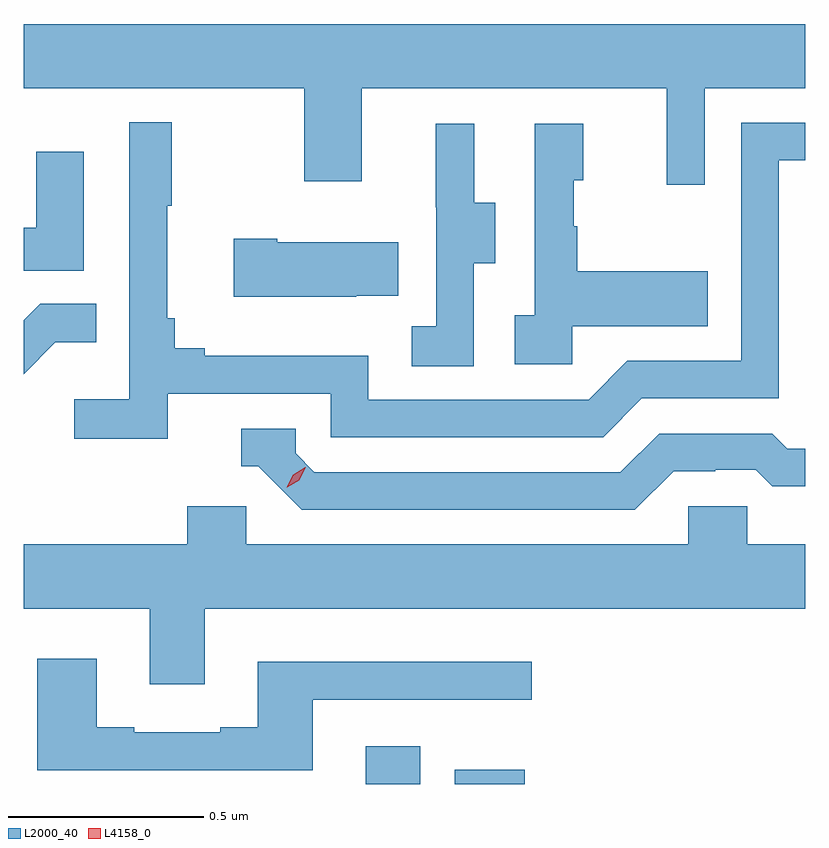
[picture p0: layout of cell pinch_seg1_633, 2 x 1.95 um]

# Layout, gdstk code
import gdstk
lib = gdstk.Library(unit=1e-6, precision=1e-09)
def R(c, l, rs):  # rectangles x0, y0, x1, y1
    for r in rs: c.add(gdstk.rectangle(r[:2], r[2:], *l))
def P(c, l, *ps):  # polygons
    for p in ps: c.add(gdstk.Polygon(p, *l))
L2000_40 = (2000, 40)
L4158_0 = (4158, 0)

pinch_seg1_633 = lib.new_cell('pinch_seg1_633')
R(pinch_seg1_633, L2000_40, [(1108.595,516.651,1108.735,516.748), (1108.823,516.651,1109.002,516.688)])
P(pinch_seg1_633, L2000_40, [(1109.463,518.432),(1109.72,518.432),(1109.72,518.596),(1107.72,518.596),(1107.72,518.432),(1108.438,518.432),(1108.438,518.193),(1108.585,518.193),(1108.585,518.432),(1109.366,518.432),(1109.366,518.184),(1109.463,518.184)],
  [(1108.088,517.65),(1108.506,517.65),(1108.506,517.539),(1109.203,517.539),(1109.302,517.638),(1109.652,517.638),(1109.652,518.247),(1109.72,518.247),(1109.72,518.343),(1109.556,518.343),(1109.556,517.734),(1109.265,517.734),(1109.166,517.635),(1108.602,517.635),(1108.602,517.747),(1108.183,517.747),(1108.183,517.766),(1108.106,517.766),(1108.106,517.843),(1108.087,517.843),(1108.087,518.131),(1108.099,518.131),(1108.099,518.344),(1107.99,518.344),(1107.99,517.636),(1107.849,517.636),(1107.849,517.534),(1108.088,517.534)],
  [(1108.872,517.984),(1108.927,517.984),(1108.927,518.139),(1108.873,518.139),(1108.873,518.341),(1108.775,518.341),(1108.775,518.127),(1108.776,518.127),(1108.776,517.823),(1108.713,517.823),(1108.713,517.72),(1108.872,517.72)],
  [(1109.124,517.823),(1109.471,517.823),(1109.471,517.963),(1109.137,517.963),(1109.137,518.078),(1109.127,518.078),(1109.127,518.196),(1109.152,518.196),(1109.152,518.341),(1109.028,518.341),(1109.028,517.85),(1108.977,517.85),(1108.977,517.725),(1109.124,517.725)],
  [(1107.874,518.269),(1107.752,518.269),(1107.752,518.074),(1107.72,518.074),(1107.72,517.965),(1107.874,517.965)],
  [(1108.571,517.901),(1108.679,517.901),(1108.679,518.038),(1108.369,518.038),(1108.369,518.046),(1108.257,518.046),(1108.257,517.898),(1108.571,517.898)],
  [(1107.801,517.781),(1107.905,517.781),(1107.905,517.88),(1107.762,517.88),(1107.72,517.838),(1107.72,517.7)],
  [(1109.383,517.452),(1109.49,517.452),(1109.49,517.455),(1109.593,517.455),(1109.635,517.413),(1109.72,517.413),(1109.72,517.509),(1109.674,517.509),(1109.635,517.548),(1109.346,517.548),(1109.247,517.449),(1108.464,517.449),(1108.416,517.497),(1108.416,517.56),(1108.277,517.56),(1108.277,517.464),(1108.32,517.464),(1108.431,517.353),(1109.284,517.353)],
  [(1108.183,517.1),(1109.72,517.1),(1109.72,517.264),(1109.571,517.264),(1109.571,517.362),(1109.421,517.362),(1109.421,517.264),(1108.29,517.264),(1108.29,517.362),(1108.139,517.362),(1108.139,517.264),(1107.72,517.264),(1107.72,517.1),(1108.043,517.1),(1108.043,516.906),(1108.183,516.906)],
  [(1108.459,516.867),(1109.02,516.867),(1109.02,516.964),(1108.319,516.964),(1108.319,516.796),(1108.223,516.796),(1108.223,516.783),(1108.003,516.783),(1108.003,516.796),(1107.907,516.796),(1107.907,516.972),(1107.755,516.972),(1107.755,516.686),(1108.459,516.686)])
P(pinch_seg1_633, L4158_0, [(1108.393,517.41),(1108.393,517.411),(1108.41,517.443),(1108.441,517.462),(1108.442,517.462),(1108.442,517.461),(1108.425,517.429),(1108.394,517.41)])

lib.write_gds('pinch_seg1_633.gds')
